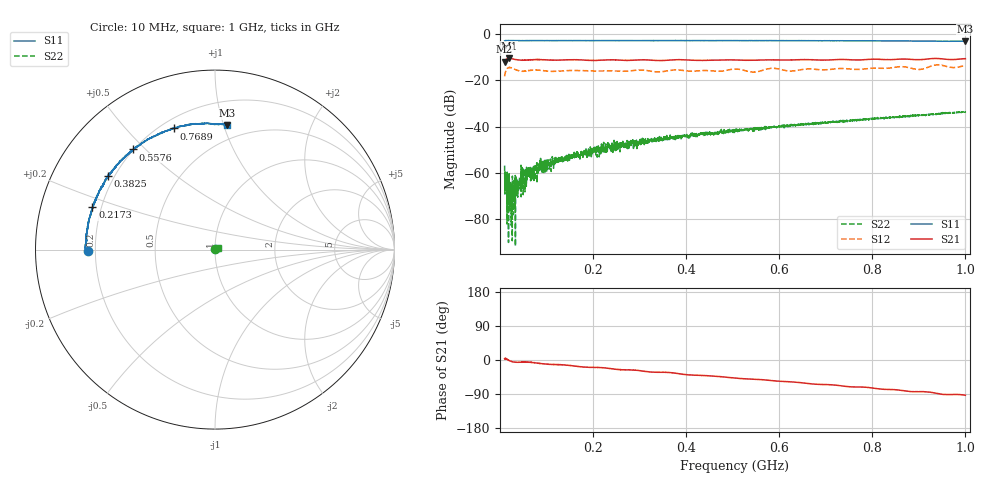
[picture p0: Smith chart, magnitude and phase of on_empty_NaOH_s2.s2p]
!Agilent Technologies,E8362C,MY43020457,A.09.42.15
!Agilent E8362C: A.09.42.15
!Date: Friday, March 13, 2026 14:08:43
!Correction: S11(Full 2 Port(1,2))
!S21(Full 2 Port(1,2))
!S12(Full 2 Port(1,2))
!S22(Full 2 Port(1,2))
!S2P File: Measurements: S11, S21, S12, S22:
# Hz S  dB  R 50
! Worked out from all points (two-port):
!   3201 points, 10 MHz to 1 GHz, reference 50 ohm
!   highest |S21| = -10.49 dB at 19.28 MHz (marker M1); lowest = -11.9 dB at 10 MHz (marker M2)
!   |S21| within 3 dB of the highest: start of sweep to end of sweep
!   lowest |S11| = -3.1 dB at 999.7 MHz (marker M3), VSWR 5.59, Z = 19 + j51.2 ohm
!   |S11| at or under -10 dB: nowhere
!   |S22| runs from -91.6 to -33.4 dB; largest |S21 - S12| = 0.16
!   S11 on the Smith chart (normalised r, x): 10 MHz: 0.17, -0.01; 217.3 MHz: 0.17, +0.16; 382.5 MHz: 0.18, +0.30; 557.6 MHz: 0.20, +0.46; 768.9 MHz: 0.25, +0.69; 1 GHz: 0.38, +1.03
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1e7  -2.99 -179.4  -11.89 3.4  -18.22 19.4  -56.79 56.4
1.556875e7  -2.83 179.5  -10.68 2.0  -14.95 10.8  -59.63 92.7
1.928125e7  -2.80 179.0  -10.49 -1.0  -14.46 4.3  -68.56 87.3
2.144688e7  -2.81 178.7  -10.54 -2.3  -14.48 1.2  -67.31 51.8
2.85625e7  -2.84 177.7  -10.77 -5.2  -14.93 -5.2  -67.56 42.3
4.434062e7  -2.87 176.4  -11.27 -5.8  -16.01 -5.8  -67.50 74.5
5.95e7  -2.84 175.1  -11.22 -5.8  -15.89 -3.6  -58.67 77.4
1.21375e8  -2.84 169.5  -11.29 -11.9  -16.07 -8.6  -54.29 91.5
1.752062e8  -2.84 164.6  -11.17 -18.0  -15.76 -13.5  -51.41 84.1
2.172812e8  -2.82 160.9  -11.28 -20.1  -15.98 -16.1  -51.16 69.7
3.401031e8  -2.83 149.7  -11.43 -32.4  -16.33 -24.2  -45.39 68.6
3.824875e8  -2.81 145.5  -11.09 -35.7  -15.52 -27.5  -43.80 68.4
5.05e8  -2.84 134.3  -11.18 -47.7  -15.14 -34.5  -41.68 60.7
5.575938e8  -2.84 129.3  -11.25 -51.5  -16.09 -33.3  -40.76 54.3
5.838906e8  -2.84 126.7  -11.19 -54.3  -14.80 -38.4  -40.03 55.5
6.241094e8  -2.87 122.9  -11.20 -57.8  -15.97 -43.1  -39.75 50.0
6.702062e8  -2.90 118.3  -11.11 -63.1  -15.12 -45.7  -38.63 49.7
7.688969e8  -2.94 108.7  -11.20 -71.2  -15.27 -51.1  -37.05 41.3
8.351031e8  -2.97 102.0  -11.05 -77.7  -14.71 -53.9  -36.11 38.1
9.01e8  -3.04 95.1  -11.07 -83.5  -15.31 -59.1  -34.97 35.1
9.996906e8  -3.14 84.6  -10.63 -93.0  -13.59 -64.7  -33.52 27.0
1e9  -3.14 84.5  -10.65 -93.1  -13.58 -64.7  -33.83 26.8
